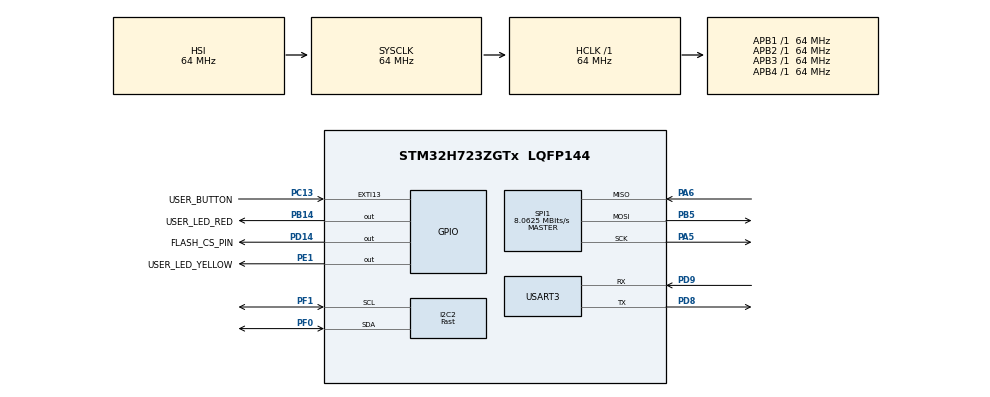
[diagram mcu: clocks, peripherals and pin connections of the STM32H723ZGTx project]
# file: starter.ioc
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CORTEX_M7.default_mode_Activation=1
Dma.Request0=USART3_RX
Dma.USART3_RX.0.Direction=DMA_PERIPH_TO_MEMORY
Dma.USART3_RX.0.EventEnable=DISABLE
Dma.USART3_RX.0.FIFOMode=DMA_FIFOMODE_DISABLE
Dma.USART3_RX.0.Instance=DMA1_Stream0
Dma.USART3_RX.0.MemDataAlignment=DMA_MDATAALIGN_BYTE
Dma.USART3_RX.0.MemInc=DMA_MINC_ENABLE
Dma.USART3_RX.0.Mode=DMA_NORMAL
Dma.USART3_RX.0.PeriphDataAlignment=DMA_PDATAALIGN_BYTE
Dma.USART3_RX.0.PeriphInc=DMA_PINC_DISABLE
Dma.USART3_RX.0.Polarity=HAL_DMAMUX_REQ_GEN_RISING
Dma.USART3_RX.0.Priority=DMA_PRIORITY_LOW
Dma.USART3_RX.0.RequestNumber=1
Dma.USART3_RX.0.SignalID=NONE
Dma.USART3_RX.0.SyncEnable=DISABLE
Dma.USART3_RX.0.SyncPolarity=HAL_DMAMUX_SYNC_NO_EVENT
Dma.USART3_RX.0.SyncRequestNumber=1
Dma.USART3_RX.0.SyncSignalID=NONE
FREERTOS.Tasks01=defaultTask,24,128,StartDefaultTask,Default,NULL,Dynamic,NULL,NULL
I2C2.I2C_Speed_Mode=I2C_Fast
I2C2.Timing=0x00602173
Mcu.Family=STM32H7
Mcu.Name=STM32H723ZGTx
Mcu.Package=LQFP144
NVIC.DMA1_Stream0_IRQn=true\:5\:0\:false\:false\:true\:true\:false\:true\:true
NVIC.PriorityGroup=NVIC_PRIORITYGROUP_4
NVIC.TIM1_UP_IRQn=true\:15\:0\:false\:false\:true\:false\:false\:true\:true
NVIC.TimeBase=TIM1_UP_IRQn
NVIC.TimeBaseIP=TIM1
NVIC.USART3_IRQn=true\:5\:0\:false\:false\:true\:true\:true\:true\:true
PA5.Mode=Full_Duplex_Master
PA5.Signal=SPI1_SCK
PA6.Mode=Full_Duplex_Master
PA6.Signal=SPI1_MISO
PB14.GPIO_Label=USER_LED_RED
PB14.Signal=GPIO_Output
PB5.Mode=Full_Duplex_Master
PB5.Signal=SPI1_MOSI
PC13.GPIO_Label=USER_BUTTON
PC13.GPIO_PuPd=GPIO_PULLDOWN
PC13.Signal=GPXTI13
PD14.GPIO_Label=FLASH_CS_PIN
PD14.GPIO_PuPd=GPIO_PULLUP
PD14.PinState=GPIO_PIN_SET
PD14.Signal=GPIO_Output
PD8.Mode=Asynchronous
PD8.Signal=USART3_TX
PD9.Mode=Asynchronous
PD9.Signal=USART3_RX
PE1.GPIO_Label=USER_LED_YELLOW
PE1.Signal=GPIO_Output
PF0.Mode=I2C
PF0.Signal=I2C2_SDA
PF1.Mode=I2C
PF1.Signal=I2C2_SCL
ProjectManager.HeapSize=0x200
ProjectManager.StackSize=0x400
ProjectManager.TargetToolchain=STM32CubeIDE
RCC.ADCFreq_Value=129000000
RCC.APB1Freq_Value=64000000
RCC.APB2Freq_Value=64000000
RCC.APB3Freq_Value=64000000
RCC.APB4Freq_Value=64000000
RCC.CortexFreq_Value=64000000
RCC.HCLKFreq_Value=64000000
RCC.SYSCLKFreq_VALUE=64000000
RCC.USBFreq_Value=129000000
SPI1.BaudRatePrescaler=SPI_BAUDRATEPRESCALER_16
SPI1.CalculateBaudRate=8.0625 MBits/s
SPI1.DataSize=SPI_DATASIZE_8BIT
SPI1.Direction=SPI_DIRECTION_2LINES
SPI1.Mode=SPI_MODE_MASTER
SPI1.VirtualType=VM_MASTER
USART3.VirtualMode-Asynchronous=VM_ASYNC
VP_FREERTOS_VS_CMSIS_V2.Mode=CMSIS_V2
VP_MEMORYMAP_VS_MEMORYMAP.Mode=CurAppReg
VP_SYS_VS_tim1.Mode=TIM1
board=custom

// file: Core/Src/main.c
/* USER CODE BEGIN Header */
/**
  ******************************************************************************
  * @file           : main.c
  * @brief          : Main program body
  ******************************************************************************
  * @attention
  *
  * Copyright (c) 2026 STMicroelectronics.
  * All rights reserved.
  *
  * This software is licensed under terms that can be found in the LICENSE file
  * in the root directory of this software component.
  * If no LICENSE file comes with this software, it is provided AS-IS.
  *
  ******************************************************************************
  */
/* USER CODE END Header */
#include "main.h"
#include "FreeRTOS.h"
#include "cmsis_os2.h"

/* USER CODE BEGIN Includes */
#include "application.h"
#include "ssd1306.h"
/* USER CODE END Includes */

/* USER CODE BEGIN PD */
#define COMMAND_STRING_SIZE	128
struct Command {
	char string[COMMAND_STRING_SIZE];
	int len;
};

// Where the UART3 DMA will read into
static uint8_t rx_byte = 0;

/* USER CODE END PD */

I2C_HandleTypeDef hi2c2;

SPI_HandleTypeDef hspi1;

UART_HandleTypeDef huart3;
DMA_HandleTypeDef hdma_usart3_rx;

/* Definitions for defaultTask */
osThreadId_t defaultTaskHandle;
const osThreadAttr_t defaultTask_attributes = {
  .name = "defaultTask",
  .stack_size = 128 * 4,
  .priority = (osPriority_t) osPriorityNormal,
};
/* USER CODE BEGIN PV */
/* Definitions for cliTask */
osThreadId_t cliTaskHandle;
const osThreadAttr_t cliTask_attributes = {
  .name = "cliTask",
  .stack_size = 128 * 4,
  .priority = (osPriority_t) osPriorityNormal,
};

/* Definitions for mainTask */
osThreadId_t mainTaskHandle;
const osThreadAttr_t mainTask_attributes = {
  .name = "mainTask",
  .stack_size = 128 * 4,
  .priority = (osPriority_t) osPriorityNormal,
};

osThreadId_t flashTaskHandle;
const osThreadAttr_t flashTask_attributes = {
  .name = "flashTask",
  .stack_size = 128 * 4,
  .priority = (osPriority_t) osPriorityNormal,
};
/* USER CODE END PV */

void SystemClock_Config(void);
static void MPU_Config(void);
static void MX_GPIO_Init(void);
static void MX_DMA_Init(void);
static void MX_I2C2_Init(void);
static void MX_USART3_UART_Init(void);
static void MX_SPI1_Init(void);
void StartDefaultTask(void *argument);

int main(void)
{

  /* MPU Configuration--------------------------------------------------------*/
  MPU_Config();

  /* MCU Configuration--------------------------------------------------------*/

  /* Reset of all peripherals, Initializes the Flash interface and the Systick. */
  HAL_Init();

  /* Configure the system clock */
  SystemClock_Config();

  /* Initialize all configured peripherals */
  MX_GPIO_Init();
  MX_DMA_Init();
  MX_I2C2_Init();
  MX_USART3_UART_Init();
  MX_SPI1_Init();
  /* USER CODE BEGIN 2 */

  // arming the interrupt to let it know to receive UART data on the interrupt line
//  HAL_UART_Receive_IT(&huart3, buffer, BUFFER_SIZE);
//  HAL_UART_Receive_DMA(&huart3, buffer, BUFFER_SIZE);
  HAL_UART_Receive_DMA(&huart3, &rx_byte, 1);

  SSD1306_Init (); // initialise the display
  	SSD1306_GotoXY (10,10); // goto 10, 10
  	SSD1306_Puts ("HELLO", &Font_11x18, 1); // print Hello
  	SSD1306_GotoXY (10, 30);
  	SSD1306_Puts ("WORLD!!", &Font_11x18, 1);
  	SSD1306_UpdateScreen(); // update screen
  /* USER CODE END 2 */

  /* Init scheduler */
  osKernelInitialize();

  /* Create the thread(s) */
  /* creation of defaultTask */
  defaultTaskHandle = osThreadNew(StartDefaultTask, NULL, &defaultTask_attributes);

  /* USER CODE BEGIN RTOS_THREADS */
  /* add threads, ... */
  mainTaskHandle = osThreadNew(mainTask, NULL, &mainTask_attributes);
  cliTaskHandle = osThreadNew(cliTask, NULL, &cliTask_attributes);
  flashTaskHandle = osThreadNew(flashTask, NULL, &flashTask_attributes);
  /* USER CODE END RTOS_THREADS */

  /* Start scheduler */
  osKernelStart();

  /* We should never get here as control is now taken by the scheduler */

  /* Infinite loop */
  while (1)
  {

  }
}

void SystemClock_Config(void)
{
  RCC_OscInitTypeDef RCC_OscInitStruct = {0};
  RCC_ClkInitTypeDef RCC_ClkInitStruct = {0};

  /** Supply configuration update enable
  */
  HAL_PWREx_ConfigSupply(PWR_LDO_SUPPLY);

  /** Configure the main internal regulator output voltage
  */
  __HAL_PWR_VOLTAGESCALING_CONFIG(PWR_REGULATOR_VOLTAGE_SCALE3);

  while(!__HAL_PWR_GET_FLAG(PWR_FLAG_VOSRDY)) {}

  /** Initializes the RCC Oscillators according to the specified parameters
  * in the RCC_OscInitTypeDef structure.
  */
  RCC_OscInitStruct.OscillatorType = RCC_OSCILLATORTYPE_HSI;
  RCC_OscInitStruct.HSIState = RCC_HSI_DIV1;
  RCC_OscInitStruct.HSICalibrationValue = 64;
  RCC_OscInitStruct.PLL.PLLState = RCC_PLL_ON;
  RCC_OscInitStruct.PLL.PLLSource = RCC_PLLSOURCE_HSI;
  RCC_OscInitStruct.PLL.PLLM = 32;
  RCC_OscInitStruct.PLL.PLLN = 129;
  RCC_OscInitStruct.PLL.PLLP = 2;
  RCC_OscInitStruct.PLL.PLLQ = 2;
  RCC_OscInitStruct.PLL.PLLR = 2;
  RCC_OscInitStruct.PLL.PLLRGE = RCC_PLL1VCIRANGE_1;
  RCC_OscInitStruct.PLL.PLLVCOSEL = RCC_PLL1VCOWIDE;
  RCC_OscInitStruct.PLL.PLLFRACN = 0;
  if (HAL_RCC_OscConfig(&RCC_OscInitStruct) != HAL_OK)
  {
    Error_Handler();
  }

  /** Initializes the CPU, AHB and APB buses clocks
  */
  RCC_ClkInitStruct.ClockType = RCC_CLOCKTYPE_HCLK|RCC_CLOCKTYPE_SYSCLK
                              |RCC_CLOCKTYPE_PCLK1|RCC_CLOCKTYPE_PCLK2
                              |RCC_CLOCKTYPE_D3PCLK1|RCC_CLOCKTYPE_D1PCLK1;
  RCC_ClkInitStruct.SYSCLKSource = RCC_SYSCLKSOURCE_HSI;
  RCC_ClkInitStruct.SYSCLKDivider = RCC_SYSCLK_DIV1;
  RCC_ClkInitStruct.AHBCLKDivider = RCC_HCLK_DIV1;
  RCC_ClkInitStruct.APB3CLKDivider = RCC_APB3_DIV1;
  RCC_ClkInitStruct.APB1CLKDivider = RCC_APB1_DIV1;
  RCC_ClkInitStruct.APB2CLKDivider = RCC_APB2_DIV1;
  RCC_ClkInitStruct.APB4CLKDivider = RCC_APB4_DIV1;

  if (HAL_RCC_ClockConfig(&RCC_ClkInitStruct, FLASH_LATENCY_1) != HAL_OK)
  {
    Error_Handler();
  }
}

static void MX_I2C2_Init(void)
{

  hi2c2.Instance = I2C2;
  hi2c2.Init.Timing = 0x00602173;
  hi2c2.Init.OwnAddress1 = 0;
  hi2c2.Init.AddressingMode = I2C_ADDRESSINGMODE_7BIT;
  hi2c2.Init.DualAddressMode = I2C_DUALADDRESS_DISABLE;
  hi2c2.Init.OwnAddress2 = 0;
  hi2c2.Init.OwnAddress2Masks = I2C_OA2_NOMASK;
  hi2c2.Init.GeneralCallMode = I2C_GENERALCALL_DISABLE;
  hi2c2.Init.NoStretchMode = I2C_NOSTRETCH_DISABLE;
  if (HAL_I2C_Init(&hi2c2) != HAL_OK)
  {
    Error_Handler();
  }

  /** Configure Analogue filter
  */
  if (HAL_I2CEx_ConfigAnalogFilter(&hi2c2, I2C_ANALOGFILTER_ENABLE) != HAL_OK)
  {
    Error_Handler();
  }

  /** Configure Digital filter
  */
  if (HAL_I2CEx_ConfigDigitalFilter(&hi2c2, 0) != HAL_OK)
  {
    Error_Handler();
  }

}

static void MX_SPI1_Init(void)
{

  /* SPI1 parameter configuration*/
  hspi1.Instance = SPI1;
  hspi1.Init.Mode = SPI_MODE_MASTER;
  hspi1.Init.Direction = SPI_DIRECTION_2LINES;
  hspi1.Init.DataSize = SPI_DATASIZE_8BIT;
  hspi1.Init.CLKPolarity = SPI_POLARITY_LOW;
  hspi1.Init.CLKPhase = SPI_PHASE_1EDGE;
  hspi1.Init.NSS = SPI_NSS_SOFT;
  hspi1.Init.BaudRatePrescaler = SPI_BAUDRATEPRESCALER_16;
  hspi1.Init.FirstBit = SPI_FIRSTBIT_MSB;
  hspi1.Init.TIMode = SPI_TIMODE_DISABLE;
  hspi1.Init.CRCCalculation = SPI_CRCCALCULATION_DISABLE;
  hspi1.Init.CRCPolynomial = 0x0;
  hspi1.Init.NSSPMode = SPI_NSS_PULSE_ENABLE;
  hspi1.Init.NSSPolarity = SPI_NSS_POLARITY_LOW;
  hspi1.Init.FifoThreshold = SPI_FIFO_THRESHOLD_01DATA;
  hspi1.Init.TxCRCInitializationPattern = SPI_CRC_INITIALIZATION_ALL_ZERO_PATTERN;
  hspi1.Init.RxCRCInitializationPattern = SPI_CRC_INITIALIZATION_ALL_ZERO_PATTERN;
  hspi1.Init.MasterSSIdleness = SPI_MASTER_SS_IDLENESS_00CYCLE;
  hspi1.Init.MasterInterDataIdleness = SPI_MASTER_INTERDATA_IDLENESS_00CYCLE;
  hspi1.Init.MasterReceiverAutoSusp = SPI_MASTER_RX_AUTOSUSP_DISABLE;
  hspi1.Init.MasterKeepIOState = SPI_MASTER_KEEP_IO_STATE_DISABLE;
  hspi1.Init.IOSwap = SPI_IO_SWAP_DISABLE;
  if (HAL_SPI_Init(&hspi1) != HAL_OK)
  {
    Error_Handler();
  }

}

static void MX_USART3_UART_Init(void)
{

  huart3.Instance = USART3;
  huart3.Init.BaudRate = 115200;
  huart3.Init.WordLength = UART_WORDLENGTH_8B;
  huart3.Init.StopBits = UART_STOPBITS_1;
  huart3.Init.Parity = UART_PARITY_NONE;
  huart3.Init.Mode = UART_MODE_TX_RX;
  huart3.Init.HwFlowCtl = UART_HWCONTROL_NONE;
  huart3.Init.OverSampling = UART_OVERSAMPLING_16;
  huart3.Init.OneBitSampling = UART_ONE_BIT_SAMPLE_DISABLE;
  huart3.Init.ClockPrescaler = UART_PRESCALER_DIV1;
  huart3.AdvancedInit.AdvFeatureInit = UART_ADVFEATURE_NO_INIT;
  if (HAL_UART_Init(&huart3) != HAL_OK)
  {
    Error_Handler();
  }
  if (HAL_UARTEx_SetTxFifoThreshold(&huart3, UART_TXFIFO_THRESHOLD_1_8) != HAL_OK)
  {
    Error_Handler();
  }
  if (HAL_UARTEx_SetRxFifoThreshold(&huart3, UART_RXFIFO_THRESHOLD_1_8) != HAL_OK)
  {
    Error_Handler();
  }
  if (HAL_UARTEx_DisableFifoMode(&huart3) != HAL_OK)
  {
    Error_Handler();
  }

}

static void MX_DMA_Init(void)
{

  /* DMA controller clock enable */
  __HAL_RCC_DMA1_CLK_ENABLE();

  /* DMA interrupt init */
  /* DMA1_Stream0_IRQn interrupt configuration */
  HAL_NVIC_SetPriority(DMA1_Stream0_IRQn, 5, 0);
  HAL_NVIC_EnableIRQ(DMA1_Stream0_IRQn);

}

static void MX_GPIO_Init(void)
{
  GPIO_InitTypeDef GPIO_InitStruct = {0};

  /* GPIO Ports Clock Enable */
  __HAL_RCC_GPIOC_CLK_ENABLE();
  __HAL_RCC_GPIOF_CLK_ENABLE();
  __HAL_RCC_GPIOA_CLK_ENABLE();
  __HAL_RCC_GPIOB_CLK_ENABLE();
  __HAL_RCC_GPIOD_CLK_ENABLE();
  __HAL_RCC_GPIOE_CLK_ENABLE();

  /*Configure GPIO pin Output Level */
  HAL_GPIO_WritePin(USER_LED_RED_GPIO_Port, USER_LED_RED_Pin, GPIO_PIN_RESET);

  /*Configure GPIO pin Output Level */
  HAL_GPIO_WritePin(FLASH_CS_PIN_GPIO_Port, FLASH_CS_PIN_Pin, GPIO_PIN_SET);

  /*Configure GPIO pin Output Level */
  HAL_GPIO_WritePin(USER_LED_YELLOW_GPIO_Port, USER_LED_YELLOW_Pin, GPIO_PIN_RESET);

  /*Configure GPIO pin : USER_BUTTON_Pin */
  GPIO_InitStruct.Pin = USER_BUTTON_Pin;
  GPIO_InitStruct.Mode = GPIO_MODE_IT_RISING;
  GPIO_InitStruct.Pull = GPIO_PULLDOWN;
  HAL_GPIO_Init(USER_BUTTON_GPIO_Port, &GPIO_InitStruct);

  /*Configure GPIO pin : USER_LED_RED_Pin */
  GPIO_InitStruct.Pin = USER_LED_RED_Pin;
  GPIO_InitStruct.Mode = GPIO_MODE_OUTPUT_PP;
  GPIO_InitStruct.Pull = GPIO_NOPULL;
  GPIO_InitStruct.Speed = GPIO_SPEED_FREQ_LOW;
  HAL_GPIO_Init(USER_LED_RED_GPIO_Port, &GPIO_InitStruct);

  /*Configure GPIO pin : FLASH_CS_PIN_Pin */
  GPIO_InitStruct.Pin = FLASH_CS_PIN_Pin;
  GPIO_InitStruct.Mode = GPIO_MODE_OUTPUT_PP;
  GPIO_InitStruct.Pull = GPIO_PULLUP;
  GPIO_InitStruct.Speed = GPIO_SPEED_FREQ_LOW;
  HAL_GPIO_Init(FLASH_CS_PIN_GPIO_Port, &GPIO_InitStruct);

  /*Configure GPIO pin : USER_LED_YELLOW_Pin */
  GPIO_InitStruct.Pin = USER_LED_YELLOW_Pin;
  GPIO_InitStruct.Mode = GPIO_MODE_OUTPUT_PP;
  GPIO_InitStruct.Pull = GPIO_NOPULL;
  GPIO_InitStruct.Speed = GPIO_SPEED_FREQ_LOW;
  HAL_GPIO_Init(USER_LED_YELLOW_GPIO_Port, &GPIO_InitStruct);

}

/* USER CODE BEGIN 4 */

void HAL_UART_RxCpltCallback(UART_HandleTypeDef *huart)
{
	if (huart == &huart3) {
		BaseType_t xHigherPriorityTaskWoken;
		xHigherPriorityTaskWoken = pdFALSE;

		xQueueSendFromISR(xCharRecvQueue, &rx_byte, &xHigherPriorityTaskWoken);

		HAL_UART_Receive_DMA(&huart3, &rx_byte, 1);

		portYIELD_FROM_ISR(xHigherPriorityTaskWoken);
	}
}

/* USER CODE END 4 */

void StartDefaultTask(void *argument)
{
  /* USER CODE BEGIN 5 */
  /* Infinite loop */
  for(;;)
  {
	  // block long time to free up resources
	  HAL_Delay(portMAX_DELAY);
  }
  /* USER CODE END 5 */
}

 /* MPU Configuration */

void MPU_Config(void)
{
  MPU_Region_InitTypeDef MPU_InitStruct = {0};

  /* Disables the MPU */
  HAL_MPU_Disable();

  /** Initializes and configures the Region and the memory to be protected
  */
  MPU_InitStruct.Enable = MPU_REGION_ENABLE;
  MPU_InitStruct.Number = MPU_REGION_NUMBER0;
  MPU_InitStruct.BaseAddress = 0x0;
  MPU_InitStruct.Size = MPU_REGION_SIZE_4GB;
  MPU_InitStruct.SubRegionDisable = 0x87;
  MPU_InitStruct.TypeExtField = MPU_TEX_LEVEL0;
  MPU_InitStruct.AccessPermission = MPU_REGION_NO_ACCESS;
  MPU_InitStruct.DisableExec = MPU_INSTRUCTION_ACCESS_DISABLE;
  MPU_InitStruct.IsShareable = MPU_ACCESS_SHAREABLE;
  MPU_InitStruct.IsCacheable = MPU_ACCESS_NOT_CACHEABLE;
  MPU_InitStruct.IsBufferable = MPU_ACCESS_NOT_BUFFERABLE;

  HAL_MPU_ConfigRegion(&MPU_InitStruct);
  /* Enables the MPU */
  HAL_MPU_Enable(MPU_PRIVILEGED_DEFAULT);

}

void HAL_TIM_PeriodElapsedCallback(TIM_HandleTypeDef *htim)
{
  if (htim->Instance == TIM1)
  {
    HAL_IncTick();
  }
}

void Error_Handler(void)
{
  __disable_irq();
  while (1)
  {
  }
}
